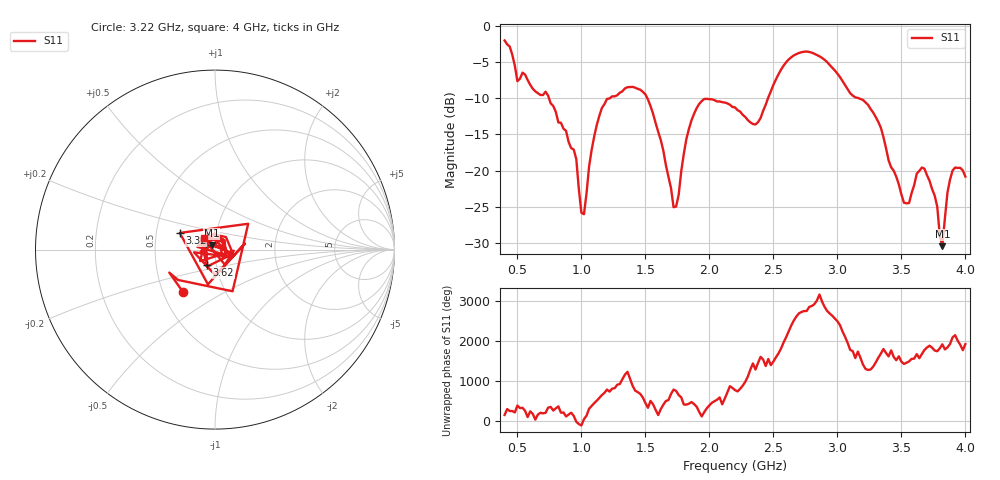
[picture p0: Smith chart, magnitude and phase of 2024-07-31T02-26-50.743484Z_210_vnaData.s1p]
!Created with skrf (http://scikit-rf.org).
# Hz S RI R 50.0
!freq ReS11 ImS11
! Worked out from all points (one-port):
!   181 points, 400 MHz to 4 GHz, reference 50 ohm
!   lowest |S11| = -30.5 dB at 3.82 GHz (marker M1), VSWR 1.06, Z = 48.1 + j2.27 ohm
!   |S11| at or under -10 dB: 747.3 MHz to 1.221 GHz (473.3 MHz wide, 48.1 % of centre); 1.516 GHz to 2.457 GHz (941.7 MHz wide, 47.4 % of centre); 3.17 GHz to end of sweep
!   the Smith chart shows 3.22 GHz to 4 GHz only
!   S11 on the Smith chart (normalised r, x): 3.22 GHz: 0.63, -0.33; 3.32 GHz: 0.66, +0.13; 3.62 GHz: 0.90, -0.15; 4 GHz: 0.88, +0.12
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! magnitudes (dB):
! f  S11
! 400 MHz  -2.0
! 500 MHz  -7.6
! 720 MHz  -9.1
! 860 MHz  -14.2
! 960 MHz  -18.4
! 1 GHz  -25.8
! 1.02 GHz  -26.1
! 1.14 GHz  -12.4
! 1.3 GHz  -9.2
! 1.5 GHz  -9.4
! 1.62 GHz  -15.8
! 1.72 GHz  -25.1
! 1.76 GHz  -23.4
! 1.82 GHz  -15.6
! 1.92 GHz  -10.8
! 2.2 GHz  -11.2
! 2.36 GHz  -13.6
! 2.66 GHz  -4.0
! 2.88 GHz  -4.4
! 3.1 GHz  -9.3
! 3.22 GHz  -10.6
! 3.32 GHz  -13.3
! 3.56 GHz  -24.5
! 3.62 GHz  -20.4
! 3.72 GHz  -21.4
! 3.82 GHz  -30.5
! 3.9 GHz  -20.0
! 4 GHz  -20.8
